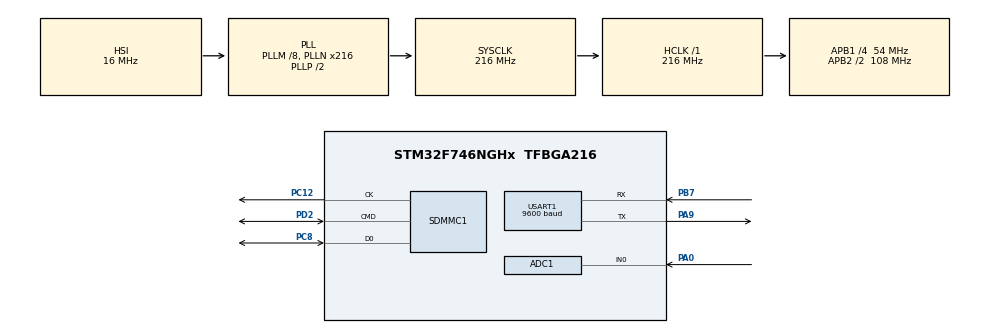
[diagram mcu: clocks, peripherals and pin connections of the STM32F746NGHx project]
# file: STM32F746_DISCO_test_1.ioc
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Mcu.Family=STM32F7
CORTEX_M7.CPU_ICache=Enabled
RCC.CortexFreq_Value=216000000
ADC1.Channel-4\#ChannelRegularConversion=ADC_CHANNEL_0
VP_FATFS_VS_SDIO.Mode=SDIO
USART1.BaudRate=9600
PC12.Signal=SDMMC1_CK
PC8.Signal=SDMMC1_D0
CORTEX_M7.PREFETCH_ENABLE=1
PA0/WKUP.Signal=ADCx_IN0
RCC.APB1CLKDivider=RCC_HCLK_DIV4
RCC.SYSCLKSource=RCC_SYSCLKSOURCE_PLLCLK
ProjectManager.StackSize=0x400
RCC.PLLSAIRDiv=RCC_PLLSAIDIVR_8
USART1.VirtualMode-Asynchronous=VM_ASYNC
PA13.Signal=SYS_JTMS-SWDIO
PA9.Mode=Asynchronous
ProjectManager.TargetToolchain=STM32CubeIDE
RCC.PLL48CLockSelection=RCC_CLK48SOURCE_PLLSAIP
CORTEX_M7.ART_ACCLERATOR_ENABLE=1
RCC.HCLKFreq_Value=216000000
RCC.APB2TimFreq_Value=216000000
PA9.Signal=USART1_TX
RCC.USBFreq_Value=50000000
RCC.LSE_VALUE=32768
RCC.AHBFreq_Value=216000000
PD2.Mode=SD_1_bit
RCC.HSE_VALUE=25000000
PC12.Mode=SD_1_bit
board=STM32F746G-DISCO
RCC.VCOOutputFreq_Value=432000000
ADC1.SamplingTime-4\#ChannelRegularConversion=ADC_SAMPLETIME_3CYCLES
RCC.APB2Freq_Value=108000000
PA14.Mode=Serial_Wire
PB7.Signal=USART1_RX
SH.ADCx_IN0.0=ADC1_IN0,IN0
PA13.Mode=Serial_Wire
Mcu.Name=STM32F746NGHx
PC8.Mode=SD_1_bit
RCC.SYSCLKFreq_VALUE=216000000
Mcu.Package=TFBGA216
RCC.SDMMCClockSelection=RCC_SDMMC1CLKSOURCE_CLK48
ADC1.master=1
PB7.Mode=Asynchronous
PA14.Signal=SYS_JTCK-SWCLK
ProjectManager.HeapSize=0x200
RCC.HSI_VALUE=16000000
RCC.PLLSAIN=50
RCC.PLLQ=9
NVIC.PriorityGroup=NVIC_PRIORITYGROUP_4
RCC.PLLSAIR=5
ADC1.NbrOfConversionFlag=1
RCC.APB2CLKDivider=RCC_HCLK_DIV2
RCC.PLLM=8
RCC.PLLN=216
RCC.APB1TimFreq_Value=108000000
CORTEX_M7.CPU_DCache=Enabled
PD2.Signal=SDMMC1_CMD
RCC.APB1Freq_Value=54000000
RCC.PLLI2SN=100
NVIC.RCC_IRQn=true\:0\:0\:false\:false\:true\:true\:false
ADC1.Rank-4\#ChannelRegularConversion=1

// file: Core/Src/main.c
/* USER CODE BEGIN Header */
/**
  ******************************************************************************
  * @file           : main.c
  * @brief          : Main program body
  ******************************************************************************
  * @attention
  *
  * <h2><center>&copy; Copyright (c) 2021 STMicroelectronics.
  * All rights reserved.</center></h2>
  *
  * This software component is licensed by ST under Ultimate Liberty license
  * SLA0044, the "License"; You may not use this file except in compliance with
  * the License. You may obtain a copy of the License at:
  *                             www.st.com/SLA0044
  *
  ******************************************************************************
  */
/* USER CODE END Header */
#include "main.h"
#include "fatfs.h"

/* USER CODE BEGIN Includes */
#define N 101
#define data_len 8

/* USER CODE END Includes */

ADC_HandleTypeDef hadc1;

SD_HandleTypeDef hsd1;

UART_HandleTypeDef huart1;

/* USER CODE BEGIN PV */
char data[data_len];
int adc_value;
int x[N];
float h[N] = {4.8776e-05,0.00086458,0.0010997,0.00035534,-0.00092516,-0.0016653,-0.0010344,0.00069986,0.0021731,0.0019664,-7.9178e-05,-0.0024577,-0.0030619,-0.0010074,0.0023291,0.004158,0.0025655,-0.0015988,-0.0050231,-0.0045139,0.0001103,0.0053718,0.0066717,0.0022296,-0.0048875,-0.008754,-0.0054256,0.0032471,0.010376,0.0093777,-0.00013732,-0.011056,-0.01388,-0.0047546,0.0102,0.018633,0.011815,-0.0070095,-0.023274,-0.021752,0.0001557,0.027412,0.036437,0.013514,-0.03068,-0.062764,-0.046221,0.032774,0.15107,0.25728,0.29984,0.25728,0.15107,0.032774,-0.046221,-0.062764,-0.03068,0.013514,0.036437,0.027412,0.0001557,-0.021752,-0.023274,-0.0070095,0.011815,0.018633,0.0102,-0.0047546,-0.01388,-0.011056,-0.00013732,0.0093777,0.010376,0.0032471,-0.0054256,-0.008754,-0.0048875,0.0022296,0.0066717,0.0053718,0.0001103,-0.0045139,-0.0050231,-0.0015988,0.0025655,0.004158,0.0023291,-0.0010074,-0.0030619,-0.0024577,-7.9178e-05,0.0019664,0.0021731,0.00069986,-0.0010344,-0.0016653,-0.00092516,0.00035534,0.0010997,0.00086458,4.8776e-05};
FRESULT res;
FATFS SDFatFs;
FIL myFile;
char buff_w[30] = "Test Programming\n\r";
char buff_r[30];
char Path[10];
unsigned int bytesWritten, bytesRead;

/* USER CODE END PV */

void SystemClock_Config(void);
static void MX_GPIO_Init(void);
static void MX_USART1_UART_Init(void);
static void MX_ADC1_Init(void);
static void MX_SDMMC1_SD_Init(void);

/* USER CODE BEGIN 0 */
void tochar(char str[], int num){
	int i, rem, len = 0, n;

	n = num;
	while(n!=0){
		len++;
		n /= 10;
	}
	for (i = 0; i<len; i++){
		rem = num % 10;
		num /= 10;
		str[len - (i+1)] = rem + '0';
	}
	str[len] = '\r';
	str[len+1] = '\n';
	str[len+2] = 0;
}

enum _bool {
	false = 0,
	true = 1
};

typedef enum _bool boolean;

/* USER CODE END 0 */

int main(void)
{

  /* Enable I-Cache---------------------------------------------------------*/
  SCB_EnableICache();

  /* Enable D-Cache---------------------------------------------------------*/
  SCB_EnableDCache();

  /* MCU Configuration--------------------------------------------------------*/

  /* Reset of all peripherals, Initializes the Flash interface and the Systick. */
  HAL_Init();

  /* Configure the system clock */
  SystemClock_Config();

  /* Initialize all configured peripherals */
  MX_GPIO_Init();
  MX_USART1_UART_Init();
  MX_ADC1_Init();
  MX_SDMMC1_SD_Init();
  MX_FATFS_Init();
  /* USER CODE BEGIN 2 */

  // initialize handler
  res = BSP_SD_Init();
  if (res != FR_OK)	Error_Handler();

  // mount disk
  res = f_mount(&SDFatFs, "", 1);
  if (res != FR_OK)	Error_Handler();

  // open file in read-write mode
  res = f_open(&myFile, "file.txt", FA_OPEN_ALWAYS|FA_WRITE|FA_READ);
  if (res != FR_OK)	Error_Handler();

  // find file size
  res = f_lseek(&myFile, f_size(&myFile));
  if (res != FR_OK)	Error_Handler();

  // print data to file
  f_printf(&myFile, "%s", buff_w);

  // close file
  f_close(&myFile);

  // open file in read only mode
  res = f_open(&myFile, "file.txt", FA_READ);
  if (res != FR_OK)	Error_Handler();

  // read from file
  res = f_read(&myFile, buff_r, 30, &bytesRead);
  if (res != FR_OK)	Error_Handler();

  // close file
  f_close(&myFile);

  // unmount disk
  res = f_mount(0, "", 1);
  if (res != FR_OK)	Error_Handler();

  /* USER CODE END 2 */

  /* Infinite loop */
  while (1)
  {

    /* USER CODE BEGIN 3 */
	  float y = 0;

	  for (int i = 0; i<N; i++){
		  y = y + x[i]*h[N-i];
	  }

	  for (int i = 0; i<N-1; i++){
		  x[i] = x[i+1];
	  }

	  HAL_ADC_Start(&hadc1);
	  HAL_ADC_PollForConversion(&hadc1, 1000);
	  adc_value = HAL_ADC_GetValue(&hadc1);

	  x[N-1] = adc_value;

	  tochar(data, adc_value);
	  HAL_UART_Transmit(&huart1, data, data_len, 100);
	  //HAL_UART_Transmit(&huart1, bytesRead, 30, 100);
	  // HAL_Delay(20);
  }
  /* USER CODE END 3 */
}

void SystemClock_Config(void)
{
  RCC_OscInitTypeDef RCC_OscInitStruct = {0};
  RCC_ClkInitTypeDef RCC_ClkInitStruct = {0};
  RCC_PeriphCLKInitTypeDef PeriphClkInitStruct = {0};

  /** Configure the main internal regulator output voltage
  */
  __HAL_RCC_PWR_CLK_ENABLE();
  __HAL_PWR_VOLTAGESCALING_CONFIG(PWR_REGULATOR_VOLTAGE_SCALE1);
  /** Initializes the RCC Oscillators according to the specified parameters
  * in the RCC_OscInitTypeDef structure.
  */
  RCC_OscInitStruct.OscillatorType = RCC_OSCILLATORTYPE_HSI;
  RCC_OscInitStruct.HSIState = RCC_HSI_ON;
  RCC_OscInitStruct.HSICalibrationValue = RCC_HSICALIBRATION_DEFAULT;
  RCC_OscInitStruct.PLL.PLLState = RCC_PLL_ON;
  RCC_OscInitStruct.PLL.PLLSource = RCC_PLLSOURCE_HSI;
  RCC_OscInitStruct.PLL.PLLM = 8;
  RCC_OscInitStruct.PLL.PLLN = 216;
  RCC_OscInitStruct.PLL.PLLP = RCC_PLLP_DIV2;
  RCC_OscInitStruct.PLL.PLLQ = 9;
  if (HAL_RCC_OscConfig(&RCC_OscInitStruct) != HAL_OK)
  {
    Error_Handler();
  }
  /** Activate the Over-Drive mode
  */
  if (HAL_PWREx_EnableOverDrive() != HAL_OK)
  {
    Error_Handler();
  }
  /** Initializes the CPU, AHB and APB buses clocks
  */
  RCC_ClkInitStruct.ClockType = RCC_CLOCKTYPE_HCLK|RCC_CLOCKTYPE_SYSCLK
                              |RCC_CLOCKTYPE_PCLK1|RCC_CLOCKTYPE_PCLK2;
  RCC_ClkInitStruct.SYSCLKSource = RCC_SYSCLKSOURCE_PLLCLK;
  RCC_ClkInitStruct.AHBCLKDivider = RCC_SYSCLK_DIV1;
  RCC_ClkInitStruct.APB1CLKDivider = RCC_HCLK_DIV4;
  RCC_ClkInitStruct.APB2CLKDivider = RCC_HCLK_DIV2;

  if (HAL_RCC_ClockConfig(&RCC_ClkInitStruct, FLASH_LATENCY_7) != HAL_OK)
  {
    Error_Handler();
  }
  PeriphClkInitStruct.PeriphClockSelection = RCC_PERIPHCLK_USART1|RCC_PERIPHCLK_SDMMC1
                              |RCC_PERIPHCLK_CLK48;
  PeriphClkInitStruct.PLLSAI.PLLSAIN = 50;
  PeriphClkInitStruct.PLLSAI.PLLSAIR = 5;
  PeriphClkInitStruct.PLLSAI.PLLSAIQ = 2;
  PeriphClkInitStruct.PLLSAI.PLLSAIP = RCC_PLLSAIP_DIV2;
  PeriphClkInitStruct.PLLSAIDivQ = 1;
  PeriphClkInitStruct.PLLSAIDivR = RCC_PLLSAIDIVR_8;
  PeriphClkInitStruct.Usart1ClockSelection = RCC_USART1CLKSOURCE_PCLK2;
  PeriphClkInitStruct.Clk48ClockSelection = RCC_CLK48SOURCE_PLLSAIP;
  PeriphClkInitStruct.Sdmmc1ClockSelection = RCC_SDMMC1CLKSOURCE_CLK48;
  if (HAL_RCCEx_PeriphCLKConfig(&PeriphClkInitStruct) != HAL_OK)
  {
    Error_Handler();
  }
}

static void MX_ADC1_Init(void)
{

  ADC_ChannelConfTypeDef sConfig = {0};

  /** Configure the global features of the ADC (Clock, Resolution, Data Alignment and number of conversion)
  */
  hadc1.Instance = ADC1;
  hadc1.Init.ClockPrescaler = ADC_CLOCK_SYNC_PCLK_DIV4;
  hadc1.Init.Resolution = ADC_RESOLUTION_12B;
  hadc1.Init.ScanConvMode = ADC_SCAN_DISABLE;
  hadc1.Init.ContinuousConvMode = DISABLE;
  hadc1.Init.DiscontinuousConvMode = DISABLE;
  hadc1.Init.ExternalTrigConvEdge = ADC_EXTERNALTRIGCONVEDGE_NONE;
  hadc1.Init.ExternalTrigConv = ADC_SOFTWARE_START;
  hadc1.Init.DataAlign = ADC_DATAALIGN_RIGHT;
  hadc1.Init.NbrOfConversion = 1;
  hadc1.Init.DMAContinuousRequests = DISABLE;
  hadc1.Init.EOCSelection = ADC_EOC_SINGLE_CONV;
  if (HAL_ADC_Init(&hadc1) != HAL_OK)
  {
    Error_Handler();
  }
  /** Configure for the selected ADC regular channel its corresponding rank in the sequencer and its sample time.
  */
  sConfig.Channel = ADC_CHANNEL_0;
  sConfig.Rank = ADC_REGULAR_RANK_1;
  sConfig.SamplingTime = ADC_SAMPLETIME_3CYCLES;
  if (HAL_ADC_ConfigChannel(&hadc1, &sConfig) != HAL_OK)
  {
    Error_Handler();
  }

}

static void MX_SDMMC1_SD_Init(void)
{

  hsd1.Instance = SDMMC1;
  hsd1.Init.ClockEdge = SDMMC_CLOCK_EDGE_RISING;
  hsd1.Init.ClockBypass = SDMMC_CLOCK_BYPASS_DISABLE;
  hsd1.Init.ClockPowerSave = SDMMC_CLOCK_POWER_SAVE_DISABLE;
  hsd1.Init.BusWide = SDMMC_BUS_WIDE_1B;
  hsd1.Init.HardwareFlowControl = SDMMC_HARDWARE_FLOW_CONTROL_DISABLE;
  hsd1.Init.ClockDiv = 0;

}

static void MX_USART1_UART_Init(void)
{

  huart1.Instance = USART1;
  huart1.Init.BaudRate = 9600;
  huart1.Init.WordLength = UART_WORDLENGTH_8B;
  huart1.Init.StopBits = UART_STOPBITS_1;
  huart1.Init.Parity = UART_PARITY_NONE;
  huart1.Init.Mode = UART_MODE_TX_RX;
  huart1.Init.HwFlowCtl = UART_HWCONTROL_NONE;
  huart1.Init.OverSampling = UART_OVERSAMPLING_16;
  huart1.Init.OneBitSampling = UART_ONE_BIT_SAMPLE_DISABLE;
  huart1.AdvancedInit.AdvFeatureInit = UART_ADVFEATURE_NO_INIT;
  if (HAL_UART_Init(&huart1) != HAL_OK)
  {
    Error_Handler();
  }

}

static void MX_GPIO_Init(void)
{

  /* GPIO Ports Clock Enable */
  __HAL_RCC_GPIOC_CLK_ENABLE();
  __HAL_RCC_GPIOA_CLK_ENABLE();
  __HAL_RCC_GPIOB_CLK_ENABLE();
  __HAL_RCC_GPIOD_CLK_ENABLE();

}

void Error_Handler(void)
{
  __disable_irq();
  while (1)
  {
  }
}

/************************ (C) COPYRIGHT STMicroelectronics *****END OF FILE****/
